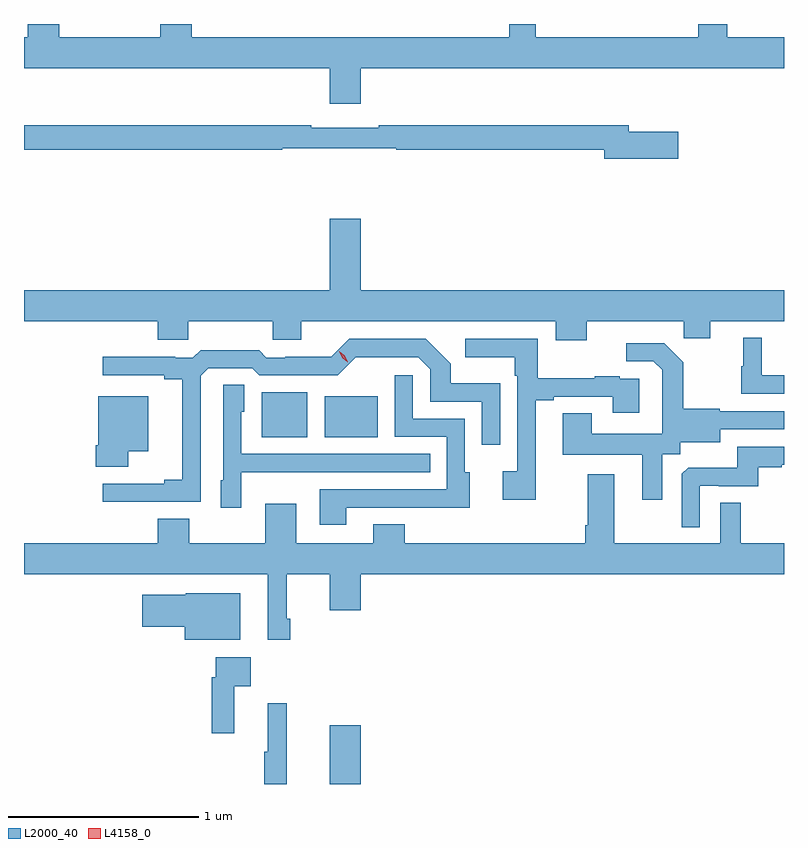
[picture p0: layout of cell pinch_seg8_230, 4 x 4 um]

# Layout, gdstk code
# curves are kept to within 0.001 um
import gdstk
lib = gdstk.Library(unit=1e-6, precision=1e-09)
def R(c, l, rs):  # rectangles x0, y0, x1, y1
    for r in rs: c.add(gdstk.rectangle(r[:2], r[2:], *l))
def P(c, l, *ps):  # polygons
    for p in ps: c.add(gdstk.Polygon(p, *l))
L2000_40 = (2000, 40)
L4158_0 = (4158, 0)

pinch_seg8_230 = lib.new_cell('pinch_seg8_230')
R(pinch_seg8_230, L2000_40, [(692.48,1111.401,692.644,1111.711), (692.123,1113.227,692.362,1113.463), (692.456,1113.227,692.734,1113.442)])
P(pinch_seg8_230, L2000_40, [(692.644,1115.168),(694.872,1115.168),(694.872,1115.332),(694.574,1115.332),(694.574,1115.401),(694.421,1115.401),(694.421,1115.332),(693.565,1115.332),(693.565,1115.401),(693.426,1115.401),(693.426,1115.332),(691.754,1115.332),(691.754,1115.401),(691.589,1115.401),(691.589,1115.332),(691.058,1115.332),(691.058,1115.401),(690.893,1115.401),(690.893,1115.332),(690.872,1115.332),(690.872,1115.168),(692.48,1115.168),(692.48,1114.98),(692.644,1114.98)],
  [(694.315,1114.833),(694.054,1114.833),(694.054,1114.867),(692.74,1114.867),(692.74,1114.854),(692.384,1114.854),(692.384,1114.867),(690.872,1114.867),(690.872,1114.738),(692.23,1114.738),(692.23,1114.746),(692.83,1114.746),(692.83,1114.738),(693.926,1114.738),(693.926,1114.691),(694.315,1114.691)],
  [(693.835,1113.836),(694.345,1113.836),(694.345,1113.746),(694.483,1113.746),(694.483,1113.836),(694.872,1113.836),(694.872,1114),(692.644,1114),(692.644,1114.375),(692.48,1114.375),(692.48,1114),(690.872,1114),(690.872,1113.836),(691.577,1113.836),(691.577,1113.738),(691.737,1113.738),(691.737,1113.836),(692.182,1113.836),(692.182,1113.738),(692.332,1113.738),(692.332,1113.836),(693.671,1113.836),(693.671,1113.737),(693.835,1113.737)],
  [(694.872,1113.552),(694.756,1113.552),(694.756,1113.751),(694.658,1113.751),(694.658,1113.6),(694.647,1113.6),(694.647,1113.456),(694.872,1113.456)],
  [(693.565,1113.42),(693.661,1113.42),(693.661,1113.438),(693.971,1113.438),(693.971,1113.354),(694.111,1113.354),(694.111,1113.534),(694.007,1113.534),(694.007,1113.547),(693.875,1113.547),(693.875,1113.536),(693.577,1113.536),(693.577,1113.744),(693.195,1113.744),(693.195,1113.647),(693.456,1113.647),(693.456,1113.551),(693.468,1113.551),(693.468,1113.046),(693.393,1113.046),(693.393,1112.898),(693.565,1112.898)],
  [(691.803,1113.549),(691.842,1113.588),(692.073,1113.588),(692.109,1113.552),(692.523,1113.552),(692.618,1113.647),(692.946,1113.648),(693.009,1113.585),(693.009,1113.414),(693.282,1113.414),(693.282,1113.186),(693.378,1113.186),(693.378,1113.511),(693.117,1113.511),(693.117,1113.614),(692.986,1113.744),(692.583,1113.744),(692.489,1113.65),(692.248,1113.65),(692.248,1113.645),(692.148,1113.645),(692.109,1113.685),(691.801,1113.685),(691.761,1113.645),(691.667,1113.645),(691.667,1113.65),(691.287,1113.65),(691.287,1113.552),(691.61,1113.552),(691.61,1113.53),(691.706,1113.53),(691.706,1113.002),(691.61,1113.002),(691.61,1112.982),(691.287,1112.982),(691.287,1112.886),(691.803,1112.886)],
  [(694.231,1113.136),(694.326,1113.136),(694.326,1113.2),(694.537,1113.2),(694.537,1113.267),(694.872,1113.267),(694.872,1113.363),(694.533,1113.363),(694.533,1113.376),(694.341,1113.376),(694.341,1113.621),(694.241,1113.721),(694.041,1113.721),(694.041,1113.627),(694.185,1113.627),(694.232,1113.58),(694.232,1113.485),(694.23,1113.485),(694.23,1113.244),(693.859,1113.244),(693.859,1113.353),(693.707,1113.353),(693.707,1113.134),(694.127,1113.134),(694.127,1112.898),(694.231,1112.898)],
  [(692.569,1112.856),(692.999,1112.856),(692.999,1112.855),(693.217,1112.855),(693.217,1113.042),(693.192,1113.042),(693.192,1113.324),(692.919,1113.324),(692.919,1113.553),(692.823,1113.553),(692.823,1113.228),(693.096,1113.228),(693.096,1112.952),(692.429,1112.952),(692.429,1112.766),(692.569,1112.766)],
  [(692.016,1113.041),(692.333,1113.041),(692.333,1113.042),(693.011,1113.042),(693.011,1113.138),(692.016,1113.138),(692.016,1113.36),(692.032,1113.36),(692.032,1113.503),(691.92,1113.503),(691.92,1113),(691.907,1113),(691.907,1112.856),(692.016,1112.856)],
  [(691.42,1113.152),(691.525,1113.152),(691.525,1113.442),(691.262,1113.442),(691.262,1113.184),(691.25,1113.184),(691.25,1113.072),(691.42,1113.072)],
  [(694.428,1112.97),(694.528,1112.97),(694.528,1112.967),(694.736,1112.967),(694.736,1113.069),(694.859,1113.069),(694.859,1113.08),(694.872,1113.08),(694.872,1113.177),(694.626,1113.177),(694.626,1113.065),(694.367,1113.065),(694.335,1113.033),(694.335,1112.753),(694.428,1112.753)],
  [(692.273,1112.272),(692.256,1112.272),(692.256,1112.504),(692.48,1112.504),(692.48,1112.316),(692.644,1112.316),(692.644,1112.504),(694.872,1112.504),(694.872,1112.668),(694.645,1112.668),(694.645,1112.882),(694.536,1112.882),(694.536,1112.668),(693.979,1112.668),(693.979,1113.031),(693.839,1113.031),(693.839,1112.764),(693.827,1112.764),(693.827,1112.668),(692.875,1112.668),(692.875,1112.767),(692.711,1112.767),(692.711,1112.668),(692.305,1112.668),(692.305,1112.875),(692.141,1112.875),(692.141,1112.668),(691.741,1112.668),(691.741,1112.797),(691.577,1112.797),(691.577,1112.668),(690.872,1112.668),(690.872,1112.504),(692.156,1112.504),(692.156,1112.16),(692.273,1112.16)],
  [(692.011,1112.404),(691.722,1112.404),(691.722,1112.398),(691.494,1112.398),(691.494,1112.228),(691.718,1112.228),(691.718,1112.159),(692.011,1112.159)],
  [(691.979,1111.916),(692.065,1111.916),(692.065,1112.068),(691.881,1112.068),(691.881,1111.964),(691.861,1111.964),(691.861,1111.668),(691.979,1111.668)],
  [(692.256,1111.825),(692.156,1111.825),(692.156,1111.572),(692.137,1111.572),(692.137,1111.401),(692.256,1111.401)])
P(pinch_seg8_230, L4158_0, [(692.577,1113.622),(692.546,1113.644),(692.53,1113.677),(692.53,1113.678),(692.531,1113.678),(692.561,1113.656),(692.577,1113.622),(692.577,1113.622)])

lib.write_gds('pinch_seg8_230.gds')
